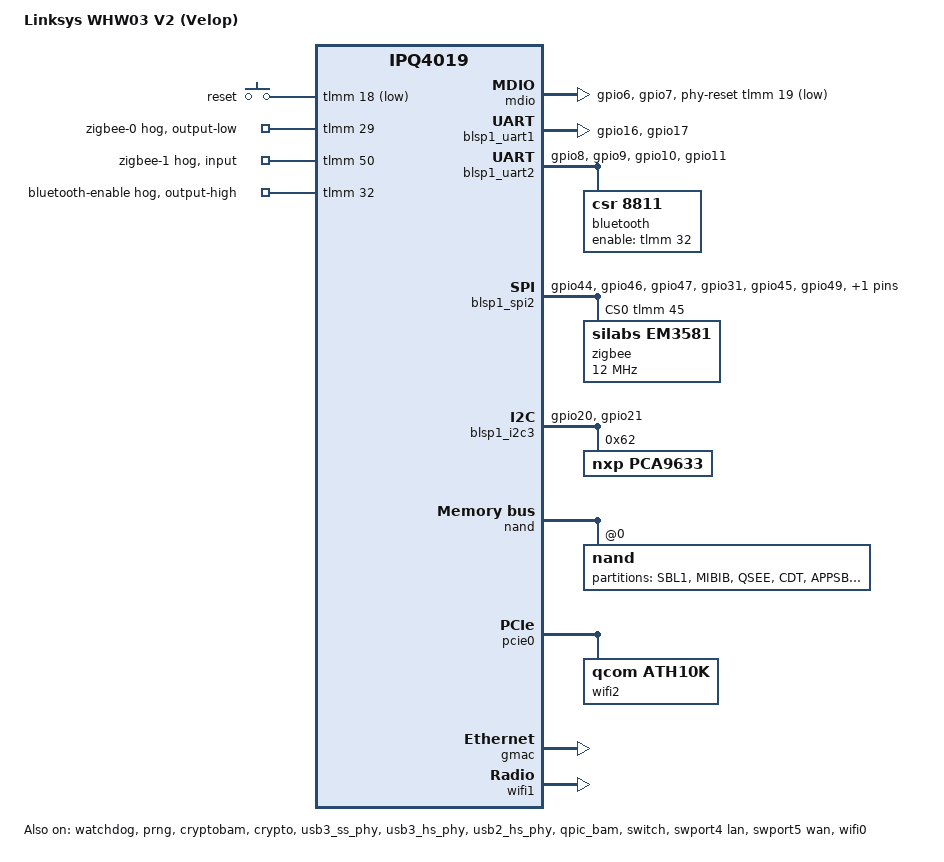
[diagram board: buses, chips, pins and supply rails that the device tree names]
// SPDX-License-Identifier: GPL-2.0-or-later OR MIT

#include "qcom-ipq4019.dtsi"
#include <dt-bindings/gpio/gpio.h>
#include <dt-bindings/input/input.h>
#include <dt-bindings/soc/qcom,tcsr.h>
#include <dt-bindings/leds/common.h>

/ {
	model = "Linksys WHW03 V2 (Velop)";
	compatible = "linksys,whw03v2", "qcom,ipq4019";

	aliases {
		led-boot = &led_blue;
		led-failsafe = &led_red;
		led-running = &led_green;
		led-upgrade = &led_red;
	};

	// The arguments rootfstype and ro are needed
	// to override the default bootargs
	chosen {
		bootargs-append = " root=/dev/ubiblock0_0 rootfstype=squashfs ro";
		stdout-path = &blsp1_uart1;
	};

	soc {
		ess-tcsr@1953000 {
			compatible = "qcom,tcsr";
			reg = <0x1953000 0x1000>;
			qcom,ess-interface-select = <TCSR_ESS_PSGMII>;
		};


		tcsr@1949000 {
			compatible = "qcom,tcsr";
			reg = <0x1949000 0x100>;
			qcom,wifi_glb_cfg = <TCSR_WIFI_GLB_CFG>;
		};

		tcsr@194b000 {
			compatible = "qcom,tcsr";
			reg = <0x194b000 0x100>;
			qcom,usb-hsphy-mode-select = <TCSR_USB_HSPHY_HOST_MODE>;
		};

		tcsr@1957000 {
			compatible = "qcom,tcsr";
			reg = <0x1957000 0x100>;
			qcom,wifi_noc_memtype_m0_m2 = <TCSR_WIFI_NOC_MEMTYPE_M0_M2>;
		};
	};


	keys {
		compatible = "gpio-keys";

		reset {
			label = "reset";
			gpios = <&tlmm 18 GPIO_ACTIVE_LOW>;
			linux,code = <KEY_RESTART>;
		};
	};
};


&tlmm {
	mdio_pins: mdio-pinmux {
		mux-1 {
			pins = "gpio6";
			function = "mdio";
			bias-pull-up;
		};

		mux-2 {
			pins = "gpio7";
			function = "mdc";
			bias-pull-up;
		};
	};

	i2c_0_pins: i2c-0-pinmux {
		mux {
			function = "blsp_i2c0";
			pins = "gpio20", "gpio21";
			bias-disable;
		};
	};

	serial_0_pins: serial0-pinmux {
		mux {
			pins = "gpio16", "gpio17";
			function = "blsp_uart0";
			bias-disable;
		};
	};

	serial_1_pins: serial1-pinmux {
		mux {
			pins = "gpio8", "gpio9", "gpio10", "gpio11";
			function = "blsp_uart1";
			bias-disable;
		};
	};

	spi_0_pins: spi-0-pinmux {
		mux {
			function = "blsp_spi0";
			pins = "gpio13", "gpio14", "gpio15";
			drive-strength = <12>;
			bias-disable;
		};

		mux-cs {
			pins = "gpio12";
			drive-strength = <2>;
			bias-disable;
			output-high;
		};
	};

	spi_1_pins: spi-1-pinmux {
		mux-1 {
			function = "blsp_spi1";
			pins = "gpio44", "gpio46","gpio47";
			bias-disable;
		};

		mux-2 {
			pins = "gpio31", "gpio45", "gpio49";
			function = "gpio";
			bias-pull-up;
			output-high;
		};

		host-interrupt {
			pins = "gpio42";
			function = "gpio";
			input;
		};
	};

	wifi_0_pins: wifi0-pinmux {
		btcoexist {
			bias-pull-up;
			drive-strength = <6>;
			function = "gpio";
			output-high;
			pins = "gpio52";
		};
	};

	zigbee-0 {
		gpio-hog;
		gpios = <29 GPIO_ACTIVE_HIGH>;
		bias-disable;
		output-low;
	};

	zigbee-1 {
		gpio-hog;
		gpios = <50 GPIO_ACTIVE_HIGH>;
		bias-disable;
		input;
	};

	bluetooth-enable {
		gpio-hog;
		gpios = <32 GPIO_ACTIVE_HIGH>;
		output-high;
	};
};

&mdio {
	status = "okay";
	pinctrl-0 = <&mdio_pins>;
	pinctrl-names = "default";
	phy-reset-gpios = <&tlmm 19 GPIO_ACTIVE_LOW>;
};

&ethphy0 {
	status = "disabled";
};

&ethphy1 {
	status = "disabled";
};

&ethphy2 {
	status = "disabled";
};

&ethphy3 {
	reg = <0x1b>;
};

&ethphy4 {
	reg = <0x1c>;
};

&psgmiiphy {
	reg = <0x1d>;
};

&watchdog {
	status = "okay";
};

&prng {
	status = "okay";
};

&blsp_dma {
	status = "okay";
};

&cryptobam {
	num-channels = <4>;
	qcom,num-ees = <2>;

	status = "okay";
};

&crypto {
	status = "okay";
};

&blsp1_uart1 {
	status = "okay";
	pinctrl-0 = <&serial_0_pins>;
	pinctrl-names = "default";
};

&blsp1_uart2 {
	status = "okay";
	pinctrl-0 = <&serial_1_pins>;
	pinctrl-names = "default";

	bluetooth {
		compatible = "csr,8811";

		enable-gpios = <&tlmm 32 GPIO_ACTIVE_HIGH>;
	};
};

&blsp1_spi2 {
	pinctrl-0 = <&spi_1_pins>;
	pinctrl-names = "default";
	status = "okay";

	cs-gpios = <&tlmm 45 GPIO_ACTIVE_HIGH>;

	zigbee@0 {
		#address-cells = <1>;
		#size-cells = <0>;

		compatible = "silabs,em3581";
		reg = <0>;
		spi-max-frequency = <12000000>;
	};
};

&blsp1_i2c3 {
	pinctrl-0 = <&i2c_0_pins>;
	pinctrl-names = "default";

	status = "okay";

	// RGB LEDs
	pca9633: led-controller@62 {
		compatible = "nxp,pca9633";
		nxp,hw-blink;
		reg = <0x62>;
		#address-cells = <1>;
		#size-cells = <0>;

		led_red: red@0 {
			label = "red";
			color = <LED_COLOR_ID_RED>;
			function = LED_FUNCTION_INDICATOR;
			linux,default-trigger = "none";
			reg = <0>;
		};

		led_green: green@1 {
			label = "green";
			color = <LED_COLOR_ID_GREEN>;
			function = LED_FUNCTION_INDICATOR;
			linux,default-trigger = "none";
			reg = <1>;
		};

		led_blue: blue@2 {
			label = "blue";
			color = <LED_COLOR_ID_BLUE>;
			function = LED_FUNCTION_INDICATOR;
			linux,default-trigger = "default-on";
			reg = <2>;
		};
	};
};

&usb3_ss_phy {
	status = "okay";
};

&usb3_hs_phy {
	status = "okay";
};

&usb2_hs_phy {
	status = "okay";
};

&nand {
	status = "okay";

	nand@0 {
		partitions {
			compatible = "fixed-partitions";
			#address-cells = <1>;
			#size-cells = <1>;

			partition@0 {
				label = "SBL1";
				reg = <0x0 0x100000>;
				read-only;
			};

			partition@100000 {
				label = "MIBIB";
				reg = <0x100000 0x100000>;
				read-only;
			};

			partition@200000 {
				label = "QSEE";
				reg = <0x200000 0x100000>;
				read-only;
			};

			partition@300000 {
				label = "CDT";
				reg = <0x300000 0x80000>;
				read-only;
			};

			partition@380000 {
				label = "APPSBL";
				reg = <0x380000 0x200000>;
				read-only;
			};

			partition@580000 {
				label = "ART";
				reg = <0x580000 0x80000>;
				read-only;

				nvmem-layout {
					compatible = "fixed-layout";
					#address-cells = <1>;
					#size-cells = <1>;

					macaddr_gmac0: macaddr@0 {
						compatible = "mac-base";
						reg = <0x0 0x6>;
						#nvmem-cell-cells = <1>;
					};

					macaddr_gmac1: macaddr@6 {
						reg = <0x6 0x6>;
					};

					precal_art_1000: precal@1000 {
						reg = <0x1000 0x2f20>;
					};

					precal_art_5000: precal@5000 {
						reg = <0x5000 0x2f20>;
					};

					precal_art_9000: precal@9000 {
						reg = <0x9000 0x2f20>;
					};
				};
			};

			partition@600000 {
				label = "u_env";
				reg = <0x600000 0x80000>;
			};

			partition@680000 {
				label = "s_env";
				reg = <0x680000 0x40000>;
			};

			partition@6c0000 {
				label = "devinfo";
				reg = <0x6c0000 0x40000>;
				read-only;
			};

			partition@700000 {
				label = "kernel";
				reg = <0x700000 0xa100000>;
			};

			partition@d00000 {
				label = "rootfs";
				reg = <0xd00000 0x9b00000>;
			};

			partition@a800000 {
				label = "alt_kernel";
				reg = <0xa800000 0xa100000>;
			};

			partition@ae00000 {
				label = "alt_rootfs";
				reg = <0xae00000 0x9b00000>;
			};

			partition@14900000 {
				label = "sysdiag";
				reg = <0x14900000 0x200000>;
				read-only;
			};

			partition@14b00000 {
				label = "syscfg";
				reg = <0x14b00000 0xb500000>;
				read-only;
			};
		};
	};
};

&pcie0 {
	status = "okay";

	perst-gpios = <&tlmm 38 GPIO_ACTIVE_LOW>;
	wake-gpios = <&tlmm 40 GPIO_ACTIVE_LOW>;
	clkreq-gpios = <&tlmm 39 GPIO_ACTIVE_LOW>;

	bridge@0,0 {
		reg = <0x00000000 0 0 0 0>;
		#address-cells = <3>;
		#size-cells = <2>;
		ranges;

		wifi2: wifi@1,0 {
			compatible = "qcom,ath10k";
			reg = <0x00010000 0 0 0 0>;
		};
	};
};

&qpic_bam {
	status = "okay";
};

&gmac {
	status = "okay";
};

&switch {
	status = "okay";
};

&swport4 {
	status = "okay";
	label = "lan";

	nvmem-cell-names = "mac-address";
	nvmem-cells = <&macaddr_gmac1>;
};

&swport5 {
	status = "okay";
	label = "wan";

	nvmem-cell-names = "mac-address";
	nvmem-cells = <&macaddr_gmac0 0>;
};

&wifi0 {
	pinctrl-0 = <&wifi_0_pins>;
	pinctrl-names = "default";

	status = "okay";

	qcom,coexist-support = <1>;
	qcom,coexist-gpio-pin = <0x34>;

	ieee80211-freq-limit = <2401000 2473000>;
	qcom,ath10k-calibration-variant = "linksys-whw03v2";

	nvmem-cell-names = "pre-calibration", "mac-address";
	nvmem-cells = <&precal_art_1000>, <&macaddr_gmac0 1>;
};

&wifi1 {
	status = "okay";

	ieee80211-freq-limit = <5170000 5250000>;
	qcom,ath10k-calibration-variant = "linksys-whw03v2";

	nvmem-cell-names = "pre-calibration", "mac-address";
	nvmem-cells = <&precal_art_5000>, <&macaddr_gmac0 2>;
};

&wifi2 {
	status = "okay";

	ieee80211-freq-limit = <5735000 5835000>;
	qcom,ath10k-calibration-variant = "linksys-whw03v2";

	nvmem-cell-names = "pre-calibration", "mac-address";
	nvmem-cells = <&precal_art_9000>, <&macaddr_gmac0 3>;
};
